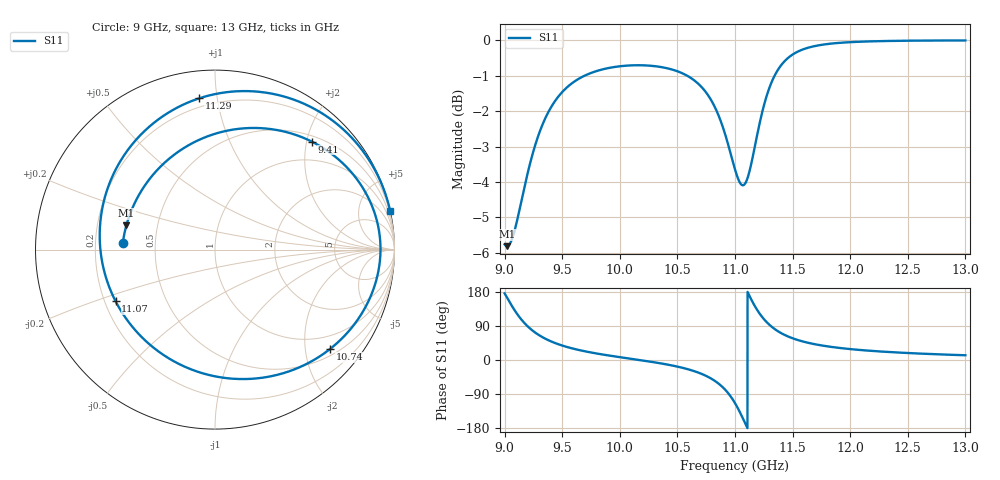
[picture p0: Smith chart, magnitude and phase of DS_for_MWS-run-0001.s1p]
! TOUCHSTONE file generated by CST DESIGN STUDIO
! Date and time: Tue Feb  4 17:20:03 2025
! Project name: C:\Work\MatlabApps\UnitCellOptimizationMatlab\CST\unitcell.cst
! Tree item: Tasks\Sweep1\SPara1\S-Parameters
! Header version: 2024
! Port assignment regex: !\s*Touchstone port\s*([0-9]+)\s*=\s*(CST MWS port|CST DES external port|CST DES block port)\s*(.+)\s* \(\"(.*)\"\)(\s*mode\s*([0-9]+))?.*
! Touchstone port assignment:
! Touchstone port 1 = CST DES external port 1 ("")
# GHz S MA R 50
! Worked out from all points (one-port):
!   4001 points, 9 GHz to 13 GHz, reference 50 ohm
!   lowest |S11| = -5.8 dB at 9.021 GHz (marker M1), VSWR 3.10, Z = 16.4 + j6.03 ohm
!   |S11| at or under -10 dB: nowhere
!   S11 on the Smith chart (normalised r, x): 9 GHz: 0.32, +0.03; 9.41 GHz: 0.60, +2.09; 10.74 GHz: 0.65, -2.55; 11.07 GHz: 0.24, -0.23; 11.29 GHz: 0.15, +0.89; 13 GHz: 0.02, +9.14
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9  0.515 175.8
9.021  0.512 164.6
9.106  0.5544 122.6
9.187  0.6357 92.8
9.28  0.7233 69.3
9.41  0.8078 48.2
9.5  0.845 38.2
9.711  0.8938 22.1
10  0.919 7.5
10.276  0.9203 -4.9
10.5  0.9042 -17.4
10.635  0.8806 -28.3
10.741  0.8473 -40.7
10.827  0.8035 -55.5
10.904  0.7459 -75.0
10.955  0.6986 -93.1
11  0.6571 -113.8
11.066  0.6241 -152.5
11.111  0.6404 178.3
11.155  0.6857 151.6
11.22  0.7714 119.8
11.288  0.8474 96.0
11.389  0.9169 72.9
11.5  0.9547 57.3
11.701  0.982 41.2
12  0.9939 28.8
12.5  0.9986 18.4
13  0.9995 12.5
